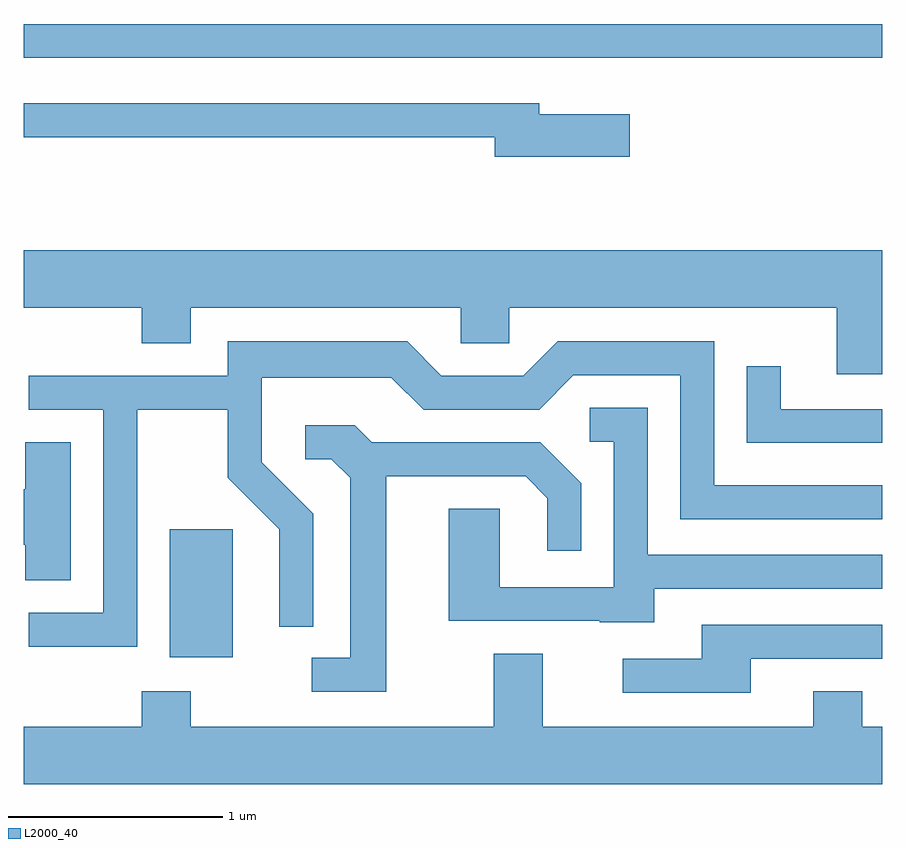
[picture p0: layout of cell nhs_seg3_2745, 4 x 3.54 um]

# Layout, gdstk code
import gdstk
lib = gdstk.Library(unit=1e-6, precision=1e-09)
def R(c, l, rs):  # rectangles x0, y0, x1, y1
    for r in rs: c.add(gdstk.rectangle(r[:2], r[2:], *l))
def P(c, l, *ps):  # polygons
    for p in ps: c.add(gdstk.Polygon(p, *l))
L2000_40 = (2000, 40)

nhs_seg3_2745 = lib.new_cell('nhs_seg3_2745')
R(nhs_seg3_2745, L2000_40, [(266.291,1166.566,266.584,1167.164), (265.611,1169.361,269.611,1169.519)])
P(nhs_seg3_2745, L2000_40, [(268.434,1169.099),(268.014,1169.099),(268.014,1169.149),(265.611,1169.149),(265.611,1168.991),(267.806,1168.991),(267.806,1168.901),(268.434,1168.901)],
  [(269.611,1168.464),(265.611,1168.464),(265.611,1168.196),(266.161,1168.196),(266.161,1168.031),(266.389,1168.031),(266.389,1168.196),(267.646,1168.196),(267.646,1168.031),(267.874,1168.031),(267.874,1168.196),(269.401,1168.196),(269.401,1167.886),(269.611,1167.886)],
  [(266.139,1167.721),(266.561,1167.721),(266.561,1167.404),(266.801,1167.164),(266.801,1166.708),(266.959,1166.708),(266.959,1167.237),(266.719,1167.477),(266.719,1167.871),(267.324,1167.871),(267.474,1167.721),(268.012,1167.721),(268.172,1167.881),(268.671,1167.881),(268.671,1167.211),(269.611,1167.211),(269.611,1167.369),(268.829,1167.369),(268.829,1168.039),(268.099,1168.039),(267.939,1167.879),(267.557,1167.879),(267.397,1168.039),(266.561,1168.039),(266.561,1167.879),(265.633,1167.879),(265.633,1167.721),(265.981,1167.721),(265.981,1166.774),(265.633,1166.774),(265.633,1166.616),(266.139,1166.616)],
  [(269.611,1167.724),(269.139,1167.724),(269.139,1167.923),(268.981,1167.923),(268.981,1167.566),(269.611,1167.566)],
  [(268.549,1166.886),(269.611,1166.886),(269.611,1167.044),(268.519,1167.044),(268.519,1167.729),(268.248,1167.729),(268.248,1167.571),(268.361,1167.571),(268.361,1166.894),(267.829,1166.894),(267.829,1167.259),(267.591,1167.259),(267.591,1166.736),(268.295,1166.736),(268.295,1166.731),(268.549,1166.731)],
  [(267.299,1167.411),(267.949,1167.411),(268.051,1167.309),(268.051,1167.063),(268.209,1167.063),(268.209,1167.377),(268.017,1167.569),(267.232,1167.569),(267.152,1167.649),(266.923,1167.649),(266.923,1167.491),(267.044,1167.491),(267.131,1167.404),(267.131,1166.564),(266.953,1166.564),(266.953,1166.406),(267.299,1166.406)],
  [(265.829,1167.569),(265.616,1167.569),(265.616,1167.349),(265.611,1167.349),(265.611,1167.091),(265.616,1167.091),(265.616,1166.926),(265.829,1166.926)],
  [(268.999,1166.561),(269.611,1166.561),(269.611,1166.719),(268.771,1166.719),(268.771,1166.559),(268.403,1166.559),(268.403,1166.401),(268.999,1166.401)],
  [(269.611,1166.244),(269.519,1166.244),(269.519,1166.409),(269.291,1166.409),(269.291,1166.244),(268.029,1166.244),(268.029,1166.584),(267.801,1166.584),(267.801,1166.244),(266.389,1166.244),(266.389,1166.409),(266.161,1166.409),(266.161,1166.244),(265.611,1166.244),(265.611,1165.976),(269.611,1165.976)])

lib.write_gds('nhs_seg3_2745.gds')
